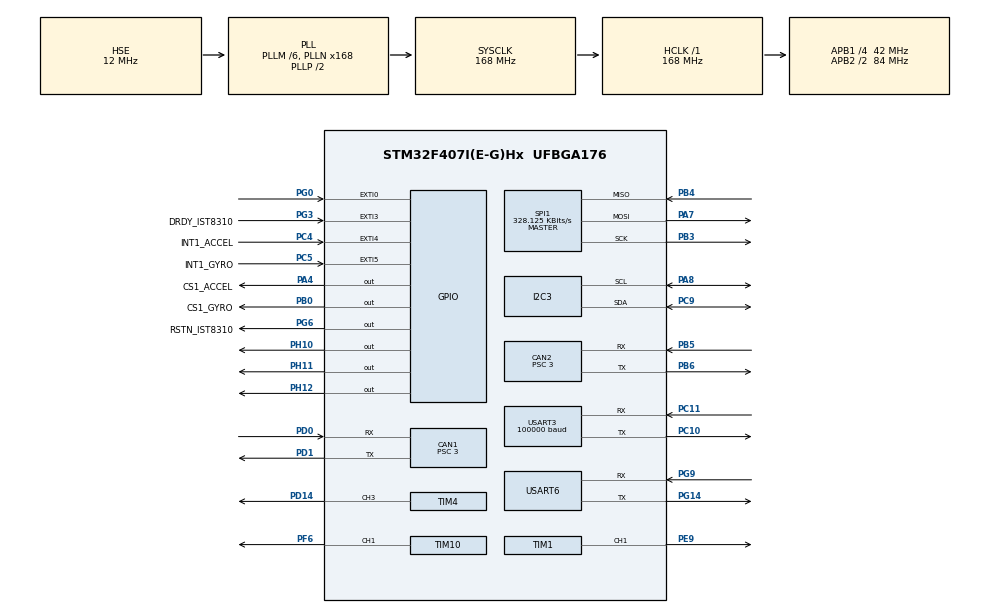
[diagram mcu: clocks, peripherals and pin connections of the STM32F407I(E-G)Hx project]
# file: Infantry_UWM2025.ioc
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CAN1.BS1=CAN_BS1_10TQ
CAN1.BS2=CAN_BS2_3TQ
CAN1.CalculateBaudRate=1000000
CAN1.CalculateTimeBit=1000
CAN1.CalculateTimeQuantum=71.42857142857143
CAN1.Prescaler=3
CAN2.BS1=CAN_BS1_10TQ
CAN2.BS2=CAN_BS2_3TQ
CAN2.CalculateBaudRate=1000000
CAN2.CalculateTimeBit=1000
CAN2.CalculateTimeQuantum=71.42857142857143
CAN2.Prescaler=3
Dma.Request0=USART3_RX
Dma.Request1=SPI1_RX
Dma.Request2=SPI1_TX
Dma.Request3=USART6_RX
Dma.SPI1_RX.1.Direction=DMA_PERIPH_TO_MEMORY
Dma.SPI1_RX.1.FIFOMode=DMA_FIFOMODE_DISABLE
Dma.SPI1_RX.1.Instance=DMA2_Stream2
Dma.SPI1_RX.1.MemDataAlignment=DMA_MDATAALIGN_BYTE
Dma.SPI1_RX.1.MemInc=DMA_MINC_ENABLE
Dma.SPI1_RX.1.Mode=DMA_NORMAL
Dma.SPI1_RX.1.PeriphDataAlignment=DMA_PDATAALIGN_BYTE
Dma.SPI1_RX.1.PeriphInc=DMA_PINC_DISABLE
Dma.SPI1_RX.1.Priority=DMA_PRIORITY_VERY_HIGH
Dma.SPI1_TX.2.Direction=DMA_MEMORY_TO_PERIPH
Dma.SPI1_TX.2.FIFOMode=DMA_FIFOMODE_DISABLE
Dma.SPI1_TX.2.Instance=DMA2_Stream3
Dma.SPI1_TX.2.MemDataAlignment=DMA_MDATAALIGN_BYTE
Dma.SPI1_TX.2.MemInc=DMA_MINC_ENABLE
Dma.SPI1_TX.2.Mode=DMA_NORMAL
Dma.SPI1_TX.2.PeriphDataAlignment=DMA_PDATAALIGN_BYTE
Dma.SPI1_TX.2.PeriphInc=DMA_PINC_DISABLE
Dma.SPI1_TX.2.Priority=DMA_PRIORITY_HIGH
Dma.USART3_RX.0.Direction=DMA_PERIPH_TO_MEMORY
Dma.USART3_RX.0.FIFOMode=DMA_FIFOMODE_DISABLE
Dma.USART3_RX.0.Instance=DMA1_Stream1
Dma.USART3_RX.0.MemDataAlignment=DMA_MDATAALIGN_BYTE
Dma.USART3_RX.0.MemInc=DMA_MINC_ENABLE
Dma.USART3_RX.0.Mode=DMA_NORMAL
Dma.USART3_RX.0.PeriphDataAlignment=DMA_PDATAALIGN_BYTE
Dma.USART3_RX.0.PeriphInc=DMA_PINC_DISABLE
Dma.USART3_RX.0.Priority=DMA_PRIORITY_VERY_HIGH
Dma.USART6_RX.3.Direction=DMA_PERIPH_TO_MEMORY
Dma.USART6_RX.3.FIFOMode=DMA_FIFOMODE_DISABLE
Dma.USART6_RX.3.Instance=DMA2_Stream1
Dma.USART6_RX.3.MemDataAlignment=DMA_MDATAALIGN_BYTE
Dma.USART6_RX.3.MemInc=DMA_MINC_ENABLE
Dma.USART6_RX.3.Mode=DMA_NORMAL
Dma.USART6_RX.3.PeriphDataAlignment=DMA_PDATAALIGN_BYTE
Dma.USART6_RX.3.PeriphInc=DMA_PINC_DISABLE
Dma.USART6_RX.3.Priority=DMA_PRIORITY_VERY_HIGH
FREERTOS.INCLUDE_eTaskGetState=1
FREERTOS.INCLUDE_pcTaskGetTaskName=1
FREERTOS.INCLUDE_uxTaskGetStackHighWaterMark=1
FREERTOS.INCLUDE_uxTaskGetStackHighWaterMark2=1
FREERTOS.INCLUDE_vTaskCleanUpResources=1
FREERTOS.INCLUDE_vTaskDelayUntil=1
FREERTOS.INCLUDE_xEventGroupSetBitFromISR=1
FREERTOS.INCLUDE_xQueueGetMutexHolder=1
FREERTOS.INCLUDE_xSemaphoreGetMutexHolder=1
FREERTOS.INCLUDE_xTaskAbortDelay=1
FREERTOS.INCLUDE_xTaskGetCurrentTaskHandle=1
FREERTOS.INCLUDE_xTaskGetHandle=1
FREERTOS.INCLUDE_xTimerPendFunctionCall=1
FREERTOS.Tasks01=defaultTask,0,128,StartDefaultTask,Default,NULL,Dynamic,NULL,NULL
FREERTOS.configENABLE_FPU=1
FREERTOS.configTOTAL_HEAP_SIZE=24576
FREERTOS.configUSE_TIMERS=1
I2C3.I2C_Mode=I2C_Fast
Mcu.Family=STM32F4
Mcu.Name=STM32F407I(E-G)Hx
Mcu.Package=UFBGA176
NVIC.CAN1_RX0_IRQn=true\:5\:0\:false\:false\:true\:true\:true\:true\:true
NVIC.CAN2_RX0_IRQn=true\:5\:0\:false\:false\:true\:true\:true\:true\:true
NVIC.DMA1_Stream1_IRQn=true\:5\:0\:false\:false\:true\:true\:false\:true\:true
NVIC.DMA2_Stream1_IRQn=true\:5\:0\:false\:false\:true\:true\:false\:true\:true
NVIC.DMA2_Stream2_IRQn=true\:5\:0\:false\:false\:true\:true\:false\:true\:true
NVIC.DMA2_Stream3_IRQn=true\:5\:0\:false\:false\:true\:true\:false\:true\:true
NVIC.EXTI0_IRQn=true\:6\:0\:true\:false\:true\:true\:true\:true\:true
NVIC.EXTI3_IRQn=true\:5\:0\:true\:false\:true\:true\:true\:true\:true
NVIC.EXTI4_IRQn=true\:5\:0\:true\:false\:true\:true\:true\:true\:true
NVIC.EXTI9_5_IRQn=true\:5\:0\:true\:false\:true\:true\:true\:true\:true
NVIC.PriorityGroup=NVIC_PRIORITYGROUP_4
NVIC.USART3_IRQn=true\:5\:0\:false\:false\:true\:true\:true\:true\:true
NVIC.USART6_IRQn=true\:5\:0\:false\:false\:true\:true\:true\:true\:true
PA13.Mode=Serial_Wire
PA13.Signal=SYS_JTMS-SWDIO
PA14.Mode=Serial_Wire
PA14.Signal=SYS_JTCK-SWCLK
PA4.GPIO_Label=CS1_ACCEL
PA4.GPIO_PuPd=GPIO_PULLUP
PA4.GPIO_Speed=GPIO_SPEED_FREQ_HIGH
PA4.PinState=GPIO_PIN_SET
PA4.Signal=GPIO_Output
PA7.GPIO_PuPd=GPIO_PULLUP
PA7.Mode=Full_Duplex_Master
PA7.Signal=SPI1_MOSI
PA8.GPIO_Pu=GPIO_PULLUP
PA8.Mode=I2C
PA8.Signal=I2C3_SCL
PB0.GPIO_Label=CS1_GYRO
PB0.GPIO_PuPd=GPIO_PULLUP
PB0.GPIO_Speed=GPIO_SPEED_FREQ_HIGH
PB0.Signal=GPIO_Output
PB3.GPIO_PuPd=GPIO_PULLUP
PB3.Mode=Full_Duplex_Master
PB3.Signal=SPI1_SCK
PB4.GPIO_PuPd=GPIO_PULLUP
PB4.Mode=Full_Duplex_Master
PB4.Signal=SPI1_MISO
PB5.Mode=CAN_Activate
PB5.Signal=CAN2_RX
PB6.Mode=CAN_Activate
PB6.Signal=CAN2_TX
PC10.Mode=Asynchronous
PC10.Signal=USART3_TX
PC11.Mode=Asynchronous
PC11.Signal=USART3_RX
PC4.GPIO_Label=INT1_ACCEL
PC4.GPIO_ModeDefaultEXTI=GPIO_MODE_IT_FALLING
PC4.GPIO_PuPd=GPIO_PULLUP
PC4.Signal=GPXTI4
PC5.GPIO_Label=INT1_GYRO
PC5.GPIO_ModeDefaultEXTI=GPIO_MODE_IT_FALLING
PC5.GPIO_PuPd=GPIO_PULLUP
PC5.Signal=GPXTI5
PC9.GPIO_Pu=GPIO_PULLUP
PC9.Mode=I2C
PC9.Signal=I2C3_SDA
PD0.Mode=CAN_Activate
PD0.Signal=CAN1_RX
PD1.Mode=CAN_Activate
PD1.Signal=CAN1_TX
PD14.GPIO_Speed=GPIO_SPEED_FREQ_HIGH
PD14.Signal=S_TIM4_CH3
PE9.GPIO_PuPd=GPIO_PULLUP
PE9.GPIO_Speed=GPIO_SPEED_FREQ_HIGH
PE9.Signal=S_TIM1_CH1
PF6.GPIO_PuPd=GPIO_PULLUP
PF6.GPIO_Speed=GPIO_SPEED_FREQ_HIGH
PF6.Signal=S_TIM10_CH1
PG0.GPIO_ModeDefaultEXTI=GPIO_MODE_IT_FALLING
PG0.GPIO_PuPd=GPIO_PULLUP
PG0.Signal=GPXTI0
PG14.Mode=Asynchronous
PG14.Signal=USART6_TX
PG3.GPIO_Label=DRDY_IST8310
PG3.GPIO_ModeDefaultEXTI=GPIO_MODE_IT_FALLING
PG3.GPIO_PuPd=GPIO_PULLUP
PG3.Signal=GPXTI3
PG6.GPIO_Label=RSTN_IST8310
PG6.GPIO_PuPd=GPIO_PULLUP
PG6.GPIO_Speed=GPIO_SPEED_FREQ_MEDIUM
PG6.Signal=GPIO_Output
PG9.Mode=Asynchronous
PG9.Signal=USART6_RX
PH0-OSC_IN.Mode=HSE-External-Oscillator
PH0-OSC_IN.Signal=RCC_OSC_IN
PH1-OSC_OUT.Mode=HSE-External-Oscillator
PH1-OSC_OUT.Signal=RCC_OSC_OUT
PH10.GPIO_PuPd=GPIO_PULLUP
PH10.GPIO_Speed=GPIO_SPEED_FREQ_HIGH
PH10.PinState=GPIO_PIN_SET
PH10.Signal=GPIO_Output
PH11.GPIO_PuPd=GPIO_PULLUP
PH11.GPIO_Speed=GPIO_SPEED_FREQ_HIGH
PH11.PinState=GPIO_PIN_SET
PH11.Signal=GPIO_Output
PH12.GPIO_PuPd=GPIO_PULLUP
PH12.GPIO_Speed=GPIO_SPEED_FREQ_HIGH
PH12.PinState=GPIO_PIN_SET
PH12.Signal=GPIO_Output
ProjectManager.HeapSize=0x200
ProjectManager.StackSize=0x400
ProjectManager.TargetToolchain=MDK-ARM V5.32
RCC.48MHZClocksFreq_Value=84000000
RCC.AHBFreq_Value=168000000
RCC.APB1CLKDivider=RCC_HCLK_DIV4
RCC.APB1Freq_Value=42000000
RCC.APB1TimFreq_Value=84000000
RCC.APB2CLKDivider=RCC_HCLK_DIV2
RCC.APB2Freq_Value=84000000
RCC.APB2TimFreq_Value=168000000
RCC.CortexFreq_Value=168000000
RCC.HCLKFreq_Value=168000000
RCC.HSE_VALUE=12000000
RCC.HSI_VALUE=16000000
RCC.LSE_VALUE=32768
RCC.PLLM=6
RCC.PLLN=168
RCC.PLLSourceVirtual=RCC_PLLSOURCE_HSE
RCC.SYSCLKFreq_VALUE=168000000
RCC.SYSCLKSource=RCC_SYSCLKSOURCE_PLLCLK
RCC.VCOOutputFreq_Value=336000000
SH.S_TIM10_CH1.0=TIM10_CH1,PWM Generation1 CH1
SH.S_TIM1_CH1.0=TIM1_CH1,PWM Generation1 CH1
SH.S_TIM4_CH3.0=TIM4_CH3,PWM Generation3 CH3
SPI1.BaudRatePrescaler=SPI_BAUDRATEPRESCALER_256
SPI1.CLKPhase=SPI_PHASE_2EDGE
SPI1.CLKPolarity=SPI_POLARITY_HIGH
SPI1.CalculateBaudRate=328.125 KBits/s
SPI1.Direction=SPI_DIRECTION_2LINES
SPI1.Mode=SPI_MODE_MASTER
SPI1.VirtualType=VM_MASTER
TIM1.Channel-PWM\ Generation1\ CH1=TIM_CHANNEL_1
TIM1.Period=19999
TIM1.Prescaler=167
TIM1.Pulse-PWM\ Generation1\ CH1=2000
TIM10.Channel=TIM_CHANNEL_1
TIM10.Period=4999
TIM4.Channel-PWM\ Generation3\ CH3=TIM_CHANNEL_3
TIM4.Period=20999
TIM4.Prescaler=0
USART3.BaudRate=100000
USART3.Parity=PARITY_NONE
USART3.VirtualMode=VM_ASYNC
USART6.VirtualMode=VM_ASYNC
VP_FREERTOS_VS_CMSIS_V1.Mode=CMSIS_V1
VP_TIM10_VS_ClockSourceINT.Mode=Enable_Timer
VP_TIM1_VS_ClockSourceINT.Mode=Internal
VP_TIM4_VS_ClockSourceINT.Mode=Internal
board=custom

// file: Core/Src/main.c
/* USER CODE BEGIN Header */
/**
  ******************************************************************************
  * @file           : main.c
  * @brief          : Main program body
  ******************************************************************************
  * @attention
  *
  * Copyright (c) 2024 STMicroelectronics.
  * All rights reserved.
  *
  * This software is licensed under terms that can be found in the LICENSE file
  * in the root directory of this software component.
  * If no LICENSE file comes with this software, it is provided AS-IS.
  *
  ******************************************************************************
  */
/* USER CODE END Header */
#include "main.h"
#include "cmsis_os.h"
#include "can.h"
#include "dma.h"
#include "i2c.h"
#include "spi.h"
#include "tim.h"
#include "usart.h"
#include "gpio.h"

/* USER CODE BEGIN Includes */
#include "bsp_rc.h"
#include "bsp_can.h"
#include "bsp_delay.h"
#include "bsp_buzzer.h"

#include "remote_control.h"
#include "motor_CAN.h"
#include "shoot.h"
#include "miniPC_control.h"

#include "pid.h"
#include "arm_math.h"
/* USER CODE END Includes */

void SystemClock_Config(void);
void MX_FREERTOS_Init(void);

/* USER CODE BEGIN 0 */
const RC_ctrl_t *local_ctrl;
extern motor_measure_t motor_gimbal[5];
char sw = 0;
char sw1 = 0;
int16_t ch1;
fp32 target = 0;
int16_t  current;

fp32 speed_fliter_1 = 0.0f;
fp32 speed_fliter_2 = 0.0f;
fp32 speed_fliter_3 = 0.0f;
const fp32 fliter_num[3] = {1.725709860247969f, -0.75594777109163436f, 0.030237910843665373f};
/* USER CODE END 0 */

int main(void)
{

  /* MCU Configuration--------------------------------------------------------*/

  /* Reset of all peripherals, Initializes the Flash interface and the Systick. */
  HAL_Init();

  /* Configure the system clock */
  SystemClock_Config();

  /* Initialize all configured peripherals */
  MX_GPIO_Init();
  MX_DMA_Init();
  MX_USART3_UART_Init();
  MX_CAN1_Init();
  MX_CAN2_Init();
  MX_TIM1_Init();
  MX_SPI1_Init();
  MX_I2C3_Init();
  MX_TIM10_Init();
  MX_TIM4_Init();
  MX_USART6_UART_Init();
  /* USER CODE BEGIN 2 */
  HAL_TIM_Base_Start(&htim1);
  HAL_TIM_PWM_Start(&htim1, TIM_CHANNEL_1);
  HAL_TIM_Base_Start(&htim4);
  HAL_TIM_PWM_Start(&htim4, TIM_CHANNEL_3);
  HAL_TIM_Base_Start(&htim10);
  HAL_TIM_PWM_Start(&htim10, TIM_CHANNEL_1);
  extern uint8_t usart6_rx_buf[2][24];
  miniPC_control_init(usart6_rx_buf[0],usart6_rx_buf[1],24u);

  can_filter_init();
  remote_control_init();
  delay_init();
  shoot_init();

  local_ctrl = get_remote_control_point();

  /* USER CODE END 2 */

  /* Call init function for freertos objects (in freertos.c) */
  MX_FREERTOS_Init();

  /* Start scheduler */
  osKernelStart();

  /* We should never get here as control is now taken by the scheduler */
  /* Infinite loop */
  while (1)
  {

    /* USER CODE BEGIN 3 */

//    sw = local_ctrl->rc.s[1];
//    sw1 = local_ctrl->rc.s[0];
//    ch1 = local_ctrl->rc.ch[1] + 660;
////   遥控器-舵机测试
//    if(sw1 == 3)
//    {
//      int theta = 90;
//      output = 500 - (theta - 180)* 2000/180 ;
//      __HAL_TIM_SetCompare(&htim1, TIM_CHANNEL_1, output);
//    }
//    else if(sw1 == 2)
//    {
//      int theta = 0;
//      output = 500 - (theta - 180)* 2000/180 ;
//      __HAL_TIM_SetCompare(&htim1, TIM_CHANNEL_1, output);
//    }
//    6020闭环测试
//    if(sw1 == 3)
//    {
//     target = 0;
//    }
//    else if(sw1 == 2)
//    {
//      target = 1024;
//    }
//    else
//    {
//      target = 2048;
//    }
//    uint16_t measure = motor_gimbal[3].ecd;
//    int16_t  current = (int16_t)PID_Calculate(&yaw, measure, target);
//    CAN_cmd_GIMBAL(current,0);
//    HAL_Delay(2);
// Pitch 轴遥控测试 上电前须将云台移动到默认限位
//    int16_t  target  = ch1;
//    uint16_t measure = motor_gimbal[3].ecd;
//    if(measure >= 1500) measure = 0;
//    int16_t  current = (int16_t)PID_Calculate(&yaw, measure, target);
//    if(sw1 == 2)
//    {
//      current = 0;
//    }
//    CAN_cmd_GIMBAL(current,0);
//    HAL_Delay(2);
//    2006 卡弹测试
//    int16_t* current_turret;
//    current_turret = shoot_control_loop();
//    CAN_cmd_TURRET(current_turret[0],current_turret[1],current_turret[2]);
//    HAL_Delay(2);

  }
  /* USER CODE END 3 */
}

void SystemClock_Config(void)
{
  RCC_OscInitTypeDef RCC_OscInitStruct = {0};
  RCC_ClkInitTypeDef RCC_ClkInitStruct = {0};

  /** Configure the main internal regulator output voltage
  */
  __HAL_RCC_PWR_CLK_ENABLE();
  __HAL_PWR_VOLTAGESCALING_CONFIG(PWR_REGULATOR_VOLTAGE_SCALE1);

  /** Initializes the RCC Oscillators according to the specified parameters
  * in the RCC_OscInitTypeDef structure.
  */
  RCC_OscInitStruct.OscillatorType = RCC_OSCILLATORTYPE_HSE;
  RCC_OscInitStruct.HSEState = RCC_HSE_ON;
  RCC_OscInitStruct.PLL.PLLState = RCC_PLL_ON;
  RCC_OscInitStruct.PLL.PLLSource = RCC_PLLSOURCE_HSE;
  RCC_OscInitStruct.PLL.PLLM = 6;
  RCC_OscInitStruct.PLL.PLLN = 168;
  RCC_OscInitStruct.PLL.PLLP = RCC_PLLP_DIV2;
  RCC_OscInitStruct.PLL.PLLQ = 4;
  if (HAL_RCC_OscConfig(&RCC_OscInitStruct) != HAL_OK)
  {
    Error_Handler();
  }

  /** Initializes the CPU, AHB and APB buses clocks
  */
  RCC_ClkInitStruct.ClockType = RCC_CLOCKTYPE_HCLK|RCC_CLOCKTYPE_SYSCLK
                              |RCC_CLOCKTYPE_PCLK1|RCC_CLOCKTYPE_PCLK2;
  RCC_ClkInitStruct.SYSCLKSource = RCC_SYSCLKSOURCE_PLLCLK;
  RCC_ClkInitStruct.AHBCLKDivider = RCC_SYSCLK_DIV1;
  RCC_ClkInitStruct.APB1CLKDivider = RCC_HCLK_DIV4;
  RCC_ClkInitStruct.APB2CLKDivider = RCC_HCLK_DIV2;

  if (HAL_RCC_ClockConfig(&RCC_ClkInitStruct, FLASH_LATENCY_5) != HAL_OK)
  {
    Error_Handler();
  }
}

void Error_Handler(void)
{
  __disable_irq();
  while (1)
  {
  }
}

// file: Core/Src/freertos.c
/* USER CODE BEGIN Header */
/**
  ******************************************************************************
  * File Name          : freertos.c
  * Description        : Code for freertos applications
  ******************************************************************************
  * @attention
  *
  * Copyright (c) 2025 STMicroelectronics.
  * All rights reserved.
  *
  * This software is licensed under terms that can be found in the LICENSE file
  * in the root directory of this software component.
  * If no LICENSE file comes with this software, it is provided AS-IS.
  *
  ******************************************************************************
  */
/* USER CODE END Header */

#include "FreeRTOS.h"
#include "task.h"
#include "main.h"
#include "cmsis_os.h"

/* USER CODE BEGIN Includes */
#include "INS_task.h"
#include "shoot.h"
#include "gimbal_task.h"
#include "chassis_task.h"
#include "detect_task.h"
/* USER CODE END Includes */

/* USER CODE BEGIN PTD */
osThreadId imuTaskHandle;
osThreadId detect_handle;
osThreadId shootTaskHandle;
osThreadId gimbalTaskHandle;
osThreadId chassisTaskHandle;
/* USER CODE END PTD */

osThreadId defaultTaskHandle;

void StartDefaultTask(void const * argument);

void MX_FREERTOS_Init(void); /* (MISRA C 2004 rule 8.1) */

/* GetIdleTaskMemory prototype (linked to static allocation support) */
void vApplicationGetIdleTaskMemory( StaticTask_t **ppxIdleTaskTCBBuffer, StackType_t **ppxIdleTaskStackBuffer, uint32_t *pulIdleTaskStackSize );

/* GetTimerTaskMemory prototype (linked to static allocation support) */
void vApplicationGetTimerTaskMemory( StaticTask_t **ppxTimerTaskTCBBuffer, StackType_t **ppxTimerTaskStackBuffer, uint32_t *pulTimerTaskStackSize );

/* USER CODE BEGIN GET_IDLE_TASK_MEMORY */
static StaticTask_t xIdleTaskTCBBuffer;
static StackType_t xIdleStack[configMINIMAL_STACK_SIZE];

void vApplicationGetIdleTaskMemory( StaticTask_t **ppxIdleTaskTCBBuffer, StackType_t **ppxIdleTaskStackBuffer, uint32_t *pulIdleTaskStackSize )
{
  *ppxIdleTaskTCBBuffer = &xIdleTaskTCBBuffer;
  *ppxIdleTaskStackBuffer = &xIdleStack[0];
  *pulIdleTaskStackSize = configMINIMAL_STACK_SIZE;
  /* place for user code */
}
/* USER CODE END GET_IDLE_TASK_MEMORY */

/* USER CODE BEGIN GET_TIMER_TASK_MEMORY */
static StaticTask_t xTimerTaskTCBBuffer;
static StackType_t xTimerStack[configTIMER_TASK_STACK_DEPTH];

void vApplicationGetTimerTaskMemory( StaticTask_t **ppxTimerTaskTCBBuffer, StackType_t **ppxTimerTaskStackBuffer, uint32_t *pulTimerTaskStackSize )
{
  *ppxTimerTaskTCBBuffer = &xTimerTaskTCBBuffer;
  *ppxTimerTaskStackBuffer = &xTimerStack[0];
  *pulTimerTaskStackSize = configTIMER_TASK_STACK_DEPTH;
  /* place for user code */
}
/* USER CODE END GET_TIMER_TASK_MEMORY */

void MX_FREERTOS_Init(void) {

  /* Create the thread(s) */
  /* definition and creation of defaultTask */
  osThreadDef(defaultTask, StartDefaultTask, osPriorityNormal, 0, 128);
  defaultTaskHandle = osThreadCreate(osThread(defaultTask), NULL);

  /* USER CODE BEGIN RTOS_THREADS */
  /* add threads, ... */
    osThreadDef(DETECT, detect_task, osPriorityNormal, 0, 256);
    detect_handle = osThreadCreate(osThread(DETECT), NULL);
    osThreadDef(imuTask, INS_task, osPriorityRealtime, 0, 1024);
    imuTaskHandle = osThreadCreate(osThread(imuTask), NULL);
    osThreadDef(ChassisTask, chassis_task, osPriorityHigh, 0, 512);
    chassisTaskHandle = osThreadCreate(osThread(ChassisTask), NULL);
    osThreadDef(gimbalTask, gimbal_task, osPriorityHigh, 0, 512);
    imuTaskHandle = osThreadCreate(osThread(gimbalTask), NULL);
    osThreadDef(shootTask, shoot_task, osPriorityHigh, 0, 512);
    imuTaskHandle = osThreadCreate(osThread(shootTask), NULL);
  /* USER CODE END RTOS_THREADS */

}

void StartDefaultTask(void const * argument)
{
  for(;;)
  {
    osDelay(1);
  }
}
